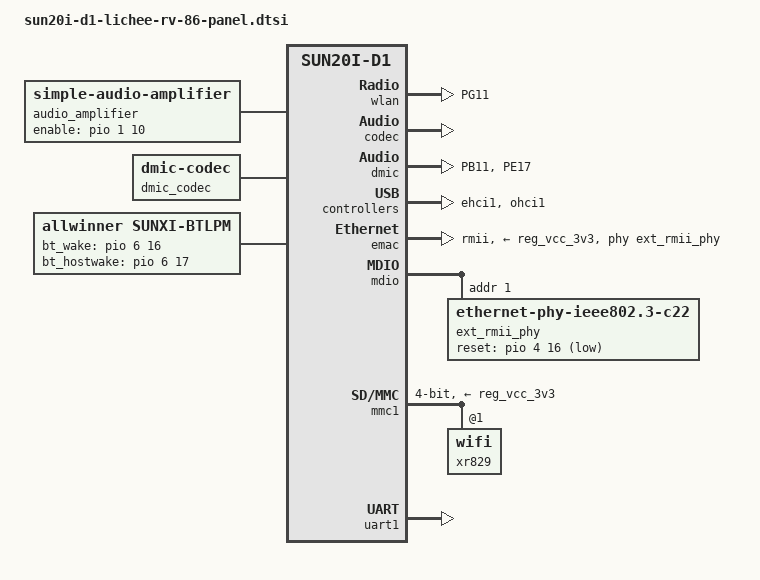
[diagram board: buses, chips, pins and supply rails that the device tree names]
// SPDX-License-Identifier: (GPL-2.0+ OR MIT)
// Copyright (C) 2022 Samuel Holland <samuel@sholland.org>

#include "sun20i-d1-lichee-rv.dts"

/ {
	aliases {
		ethernet0 = &emac;
		ethernet1 = &xr829;
	};

	audio_amplifier: audio-amplifier {
		compatible = "simple-audio-amplifier";
		enable-gpios = <&pio 1 10 GPIO_ACTIVE_HIGH>; /* PB10 */
		sound-name-prefix = "Amplifier";
	};

	dmic_codec: dmic-codec {
		compatible = "dmic-codec";
		num-channels = <2>;
		#sound-dai-cells = <0>;
	};

	dmic-sound {
		compatible = "simple-audio-card";
		simple-audio-card,name = "DMIC";
		#address-cells = <1>;
		#size-cells = <0>;

		simple-audio-card,dai-link@0 {
			reg = <0>;
			format = "pdm";
			frame-master = <&link0_cpu>;
			bitclock-master = <&link0_cpu>;

			link0_cpu: cpu {
				sound-dai = <&dmic>;
			};

			link0_codec: codec {
				sound-dai = <&dmic_codec>;
			};
		};
	};

	/* PC1 is repurposed as BT_WAKE_AP */
	/delete-node/ leds;

/*
	wifi_pwrseq: wifi-pwrseq {
		compatible = "mmc-pwrseq-simple";
		clocks = <&ccu CLK_FANOUT1>;
		clock-names = "ext_clock";
		reset-gpios = <&pio 6 12 GPIO_ACTIVE_LOW>; // PG12 //
		assigned-clocks = <&ccu CLK_FANOUT1>;
		assigned-clock-rates = <32768>;
		pinctrl-0 = <&clk_pg11_pin>;
		pinctrl-names = "default";
	};
*/

	rfkill: rfkill@0 {
		compatible    = "allwinner,sunxi-rfkill";
		chip_en;
		power_en;
		status        = "okay";

		wlan: wlan@0 {
			compatible    = "allwinner,sunxi-wlan";
			pinctrl-0 = <&wlan_pins_a>;
			pinctrl-names = "default";
			clock-names = "32k-fanout1";
			clocks = <&ccu CLK_FANOUT1>;
			wlan_busnum    = <0x1>;
			wlan_regon    = <&pio 6 12 GPIO_ACTIVE_HIGH>;
			wlan_hostwake  = <&pio 6 10 GPIO_ACTIVE_HIGH>;
			/*wlan_power    = "VCC-3V3";*/
			/*wlan_power_vol = <3300000>;*/
			/*interrupt-parent = <&pio>;
			interrupts = < 6 10 IRQ_TYPE_LEVEL_HIGH>;*/
			wakeup-source;

		};

		bt: bt@0 {
			compatible    = "allwinner,sunxi-bt";
			pinctrl-0 = <&wlan_pins_a>;
			pinctrl-names = "default";
			clock-names = "32k-fanout1";
			clocks = <&ccu CLK_FANOUT1>;
			/*bt_power_num = <0x01>;*/
			/*bt_power      = "axp803-dldo1";*/
			/*bt_io_regulator = "axp803-dldo1";*/
			/*bt_io_vol = <3300000>;*/
			/*bt_power_vol = <330000>;*/
			bt_rst_n      = <&pio 6 18 GPIO_ACTIVE_LOW>;
			status        = "okay";
		};
	};

	btlpm: btlpm@0 {
		compatible  = "allwinner,sunxi-btlpm";
		uart_index  = <0x1>;
		bt_wake     = <&pio 6 16 GPIO_ACTIVE_HIGH>;
		bt_hostwake = <&pio 6 17 GPIO_ACTIVE_HIGH>;
		status      = "okay";
	};

	addr_mgt: addr_mgt@0 {
		compatible     = "allwinner,sunxi-addr_mgt";
		type_addr_wifi = <0x0>;
		type_addr_bt   = <0x0>;
		type_addr_eth  = <0x0>;
		status         = "okay";
	};
};

&codec {
	aux-devs = <&audio_amplifier>;
	routing = "Internal Speaker", "Amplifier OUTL",
		  "Internal Speaker", "Amplifier OUTR",
		  "Amplifier INL", "HPOUTL",
		  "Amplifier INR", "HPOUTR",
		  "LINEINL", "HPOUTL",
		  "LINEINR", "HPOUTR",
		  "MICIN3", "Internal Microphone",
		  "Internal Microphone", "HBIAS";
	widgets = "Microphone", "Internal Microphone",
		  "Speaker", "Internal Speaker";
	status = "okay";
};

&dmic {
	pinctrl-0 = <&dmic_pb11_d0_pin>, <&dmic_pe17_clk_pin>;
	pinctrl-names = "default";
	status = "okay";
};

&ehci1 {
	status = "okay";
};

&emac {
	pinctrl-0 = <&rmii_pe_pins>;
	pinctrl-names = "default";
	phy-handle = <&ext_rmii_phy>;
	phy-mode = "rmii";
	phy-supply = <&reg_vcc_3v3>;
	status = "okay";
};

&mdio {
	ext_rmii_phy: ethernet-phy@1 {
		compatible = "ethernet-phy-ieee802.3-c22";
		reg = <1>;
		reset-gpios = <&pio 4 16 GPIO_ACTIVE_LOW>; /* PE16 */
	};
};

&mmc1 {
	bus-width = <4>;
/*
	mmc-pwrseq = <&wifi_pwrseq>;
*/
	no-sd;
	cap-sdio-irq;
	keep-power-in-suspend;
	ignore-pm-notify;
	ctl-spec-caps = <0x8>;

	sunxi-dly-52M-ddr4  = <1 0 0 0 2>;
	sunxi-dly-104M  = <1 0 0 0 1>;
	sunxi-dly-208M  = <1 0 0 0 1>;

/*
	non-removable;
*/
	vmmc-supply = <&reg_vcc_3v3>;
	vqmmc-supply = <&reg_vcc_3v3>;

	pinctrl-0 = <&mmc1_pins>;
	pinctrl-1 = <&sdc1_pins_b>;
	pinctrl-names = "default","sleep";
	status = "okay";

	xr829: wifi@1 {
		reg = <1>;
	};
};

&ohci1 {
	status = "okay";
};

&pio {
	clk_pg11_pin: clk-pg11-pin {
		pins = "PG11";
		function = "clk";
	};

	dmic_pb11_d0_pin: dmic-pb11-d0-pin {
		pins = "PB11";
		function = "dmic";
	};

	dmic_pe17_clk_pin: dmic-pe17-clk-pin {
		pins = "PE17";
		function = "dmic";
	};

	sdc1_pins_a: sdc1@0 {
		pins = "PG0", "PG1", "PG2",
		       "PG3", "PG4", "PG5";
		function = "mmc1";
		drive-strength = <30>;
		bias-pull-up;
	};

	sdc1_pins_b: sdc1@1 {
		pins = "PG0", "PG1", "PG2",
		       "PG3", "PG4", "PG5";
			function = "gpio_in";
	};

	wlan_pins_a:wlan@0 {
		pins = "PG11";
		function = "clk";
	};
};

&uart1 {
	uart-has-rtscts;
	pinctrl-0 = <&uart1_pg6_pins>, <&uart1_pg8_rts_cts_pins>;
	pinctrl-names = "default";
	status = "okay";

	/* XR829 bluetooth is connected here */
};

&usb_otg {
	status = "disabled";
};

&usbphy {
	/* PD20 and PD21 are repurposed for the LCD panel */
	/delete-property/ usb0_id_det-gpios;
	/delete-property/ usb0_vbus_det-gpios;
	usb1_vbus-supply = <&reg_vcc>;
};
